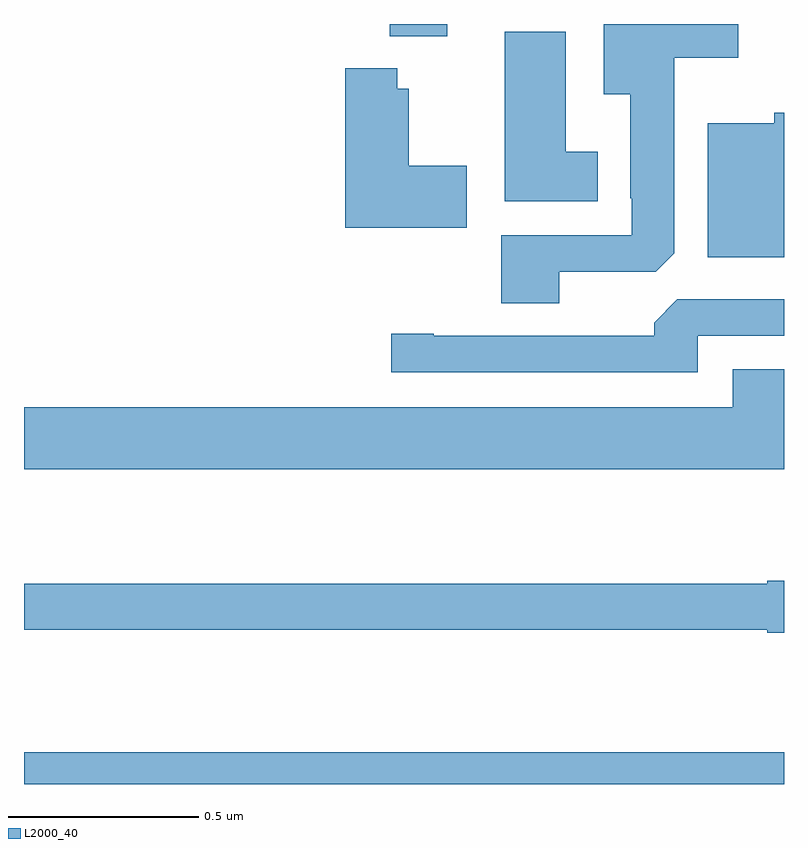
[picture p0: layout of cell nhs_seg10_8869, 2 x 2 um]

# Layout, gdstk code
import gdstk
lib = gdstk.Library(unit=1e-6, precision=1e-09)
def R(c, l, rs):  # rectangles x0, y0, x1, y1
    for r in rs: c.add(gdstk.rectangle(r[:2], r[2:], *l))
def P(c, l, *ps):  # polygons
    for p in ps: c.add(gdstk.Polygon(p, *l))
L2000_40 = (2000, 40)

nhs_seg10_8869 = lib.new_cell('nhs_seg10_8869')
R(nhs_seg10_8869, L2000_40, [(222,1287.5,224,1287.583), (222.962,1289.468,223.114,1289.5)])
P(nhs_seg10_8869, L2000_40, [(223.408,1288.848),(223.662,1288.848),(223.711,1288.897),(223.711,1289.411),(223.879,1289.411),(223.879,1289.5),(223.526,1289.5),(223.526,1289.315),(223.595,1289.315),(223.595,1289.041),(223.599,1289.041),(223.599,1288.944),(223.256,1288.944),(223.256,1288.765),(223.408,1288.765)],
  [(223.51,1289.164),(223.426,1289.164),(223.426,1289.479),(223.265,1289.479),(223.265,1289.033),(223.51,1289.033)],
  [(223.165,1289.127),(223.012,1289.127),(223.012,1289.329),(222.982,1289.329),(222.982,1289.383),(222.845,1289.383),(222.845,1288.964),(223.165,1288.964)],
  [(224,1289.266),(223.974,1289.266),(223.974,1289.239),(223.799,1289.239),(223.799,1288.886),(224,1288.886)],
  [(223.773,1288.68),(224,1288.68),(224,1288.776),(223.719,1288.776),(223.658,1288.714),(223.658,1288.68),(223.078,1288.68),(223.078,1288.685),(222.966,1288.685),(222.966,1288.584),(223.773,1288.584)],
  [(224,1288.591),(223.865,1288.591),(223.865,1288.492),(222,1288.492),(222,1288.328),(224,1288.328)],
  [(224,1288.035),(223.956,1288.035),(223.956,1288.027),(222,1288.027),(222,1287.906),(223.956,1287.906),(223.956,1287.898),(224,1287.898)])

lib.write_gds('nhs_seg10_8869.gds')
